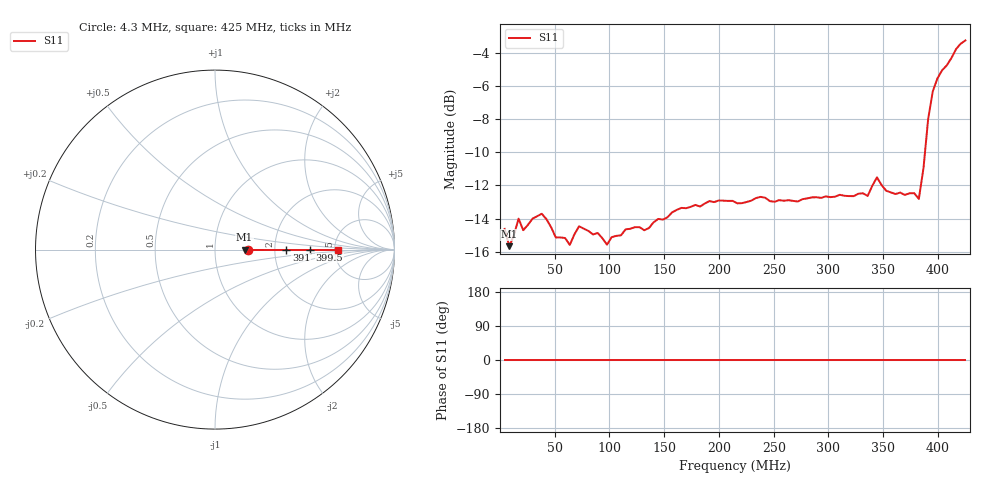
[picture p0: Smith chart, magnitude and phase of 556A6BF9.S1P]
!File created by NanoVNA
# Hz S RI R 50
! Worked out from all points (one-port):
!   100 points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, 4.3 MHz to 425 MHz, reference 50 ohm
!   lowest |S11| = -15.7 dB at 8.549 MHz (marker M1), VSWR 1.39, Z = 69.7 + j0 ohm
!   |S11| at or under -10 dB: start of sweep to 388.1 MHz
!   S11 on the Smith chart (normalised r, x): 4.3 MHz: 1.46, +0.00; 391 MHz: 2.32, +0.00; 399.5 MHz: 3.24, +0.00; 425 MHz: 5.38, +0.00
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4299500  0.1858 0
8549000  0.1648 0
1.7048e7  0.1995 0
2.12975e7  0.1841 0
3.82955e7  0.2063 0
5.1044e7  0.175 0
5.9543e7  0.1743 0
6.37925e7  0.1662 0
7.22915e7  0.1891 0
8.92895e7  0.1806 0
9.77885e7  0.1665 0
1.10537e8  0.1776 0
1.317845e8  0.184 0
1.657805e8  0.2149 0
2.167745e8  0.2218 0
2.38022e8  0.232 0
2.677685e8  0.2256 0
3.23012e8  0.2331 0
3.357605e8  0.2334 0
3.442595e8  0.2656 0
3.527585e8  0.2419 0
3.74006e8  0.2379 0
3.82505e8  0.2288 0
3.867545e8  0.2833 0
3.91004e8  0.3983 0
3.952535e8  0.4827 0
3.99503e8  0.5278 0
4.25e8  0.6864 0
